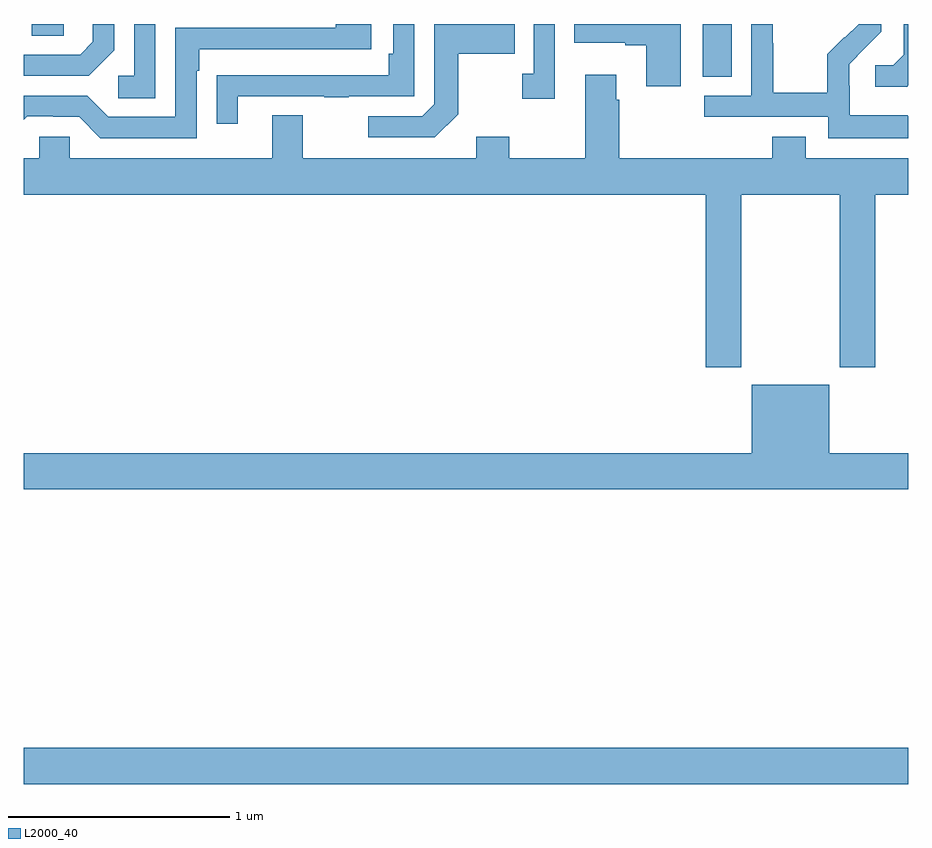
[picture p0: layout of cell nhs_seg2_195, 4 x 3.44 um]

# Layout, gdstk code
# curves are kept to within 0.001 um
import gdstk
lib = gdstk.Library(unit=1e-6, precision=1e-09)
def R(c, l, rs):  # rectangles x0, y0, x1, y1
    for r in rs: c.add(gdstk.rectangle(r[:2], r[2:], *l))
def P(c, l, *ps):  # polygons
    for p in ps: c.add(gdstk.Polygon(p, *l))
L2000_40 = (2000, 40)

nhs_seg2_195 = lib.new_cell('nhs_seg2_195')
R(nhs_seg2_195, L2000_40, [(121,586.364,125,586.528), (124.07,589.561,124.201,589.8), (121.037,589.747,121.182,589.8)])
P(nhs_seg2_195, L2000_40, [(121.782,589.589),(121.795,589.589),(121.795,589.686),(122.572,589.686),(122.572,589.8),(122.411,589.8),(122.411,589.782),(121.686,589.782),(121.686,589.38),(121.383,589.38),(121.287,589.476),(121,589.476),(121,589.366),(121.017,589.383),(121.133,589.383),(121.133,589.38),(121.251,589.38),(121.347,589.284),(121.782,589.284)],
  [(123.402,589.8),(123.306,589.8),(123.306,589.574),(123.255,589.574),(123.255,589.461),(123.402,589.461)],
  [(125,589.383),(124.997,589.383),(124.997,589.387),(124.734,589.387),(124.734,589.521),(124.732,589.521),(124.732,589.618),(124.878,589.766),(124.878,589.8),(124.776,589.8),(124.713,589.737),(124.71,589.74),(124.633,589.663),(124.633,589.489),(124.389,589.489),(124.389,589.712),(124.386,589.712),(124.386,589.8),(124.29,589.8),(124.29,589.476),(124.077,589.476),(124.077,589.38),(124.638,589.38),(124.638,589.283),(125,589.283)],
  [(121.969,589.473),(122.359,589.473),(122.359,589.468),(122.471,589.468),(122.471,589.473),(122.766,589.473),(122.766,589.8),(122.67,589.8),(122.67,589.666),(122.65,589.666),(122.65,589.569),(121.975,589.569),(121.975,589.568),(121.873,589.568),(121.873,589.35),(121.969,589.35)],
  [(121.596,589.8),(121.5,589.8),(121.5,589.566),(121.428,589.566),(121.428,589.465),(121.596,589.465)],
  [(125,589.523),(125,589.8),(124.979,589.8),(124.979,589.661),(124.932,589.614),(124.851,589.614),(124.851,589.517),(124.994,589.517)],
  [(122.965,589.393),(122.965,589.666),(123.221,589.666),(123.221,589.8),(122.856,589.8),(122.856,589.437),(122.802,589.383),(122.559,589.383),(122.559,589.287),(122.859,589.287)],
  [(121.41,589.682),(121.41,589.8),(121.313,589.8),(121.313,589.719),(121.256,589.662),(121,589.662),(121,589.566),(121.294,589.566)],
  [(123.97,589.8),(123.489,589.8),(123.489,589.715),(123.719,589.715),(123.719,589.703),(123.815,589.703),(123.815,589.518),(123.97,589.518)],
  [(124.245,589.028),(124.69,589.028),(124.69,588.249),(124.85,588.249),(124.85,589.028),(125,589.028),(125,589.192),(124.537,589.192),(124.537,589.291),(124.385,589.291),(124.385,589.192),(123.692,589.192),(123.692,589.457),(123.679,589.457),(123.679,589.57),(123.539,589.57),(123.539,589.192),(123.195,589.192),(123.195,589.291),(123.047,589.291),(123.047,589.192),(122.263,589.192),(122.263,589.387),(122.123,589.387),(122.123,589.192),(121.209,589.192),(121.209,589.29),(121.071,589.29),(121.071,589.192),(121,589.192),(121,589.028),(124.085,589.028),(124.085,588.249),(124.245,588.249)],
  [(125,587.86),(124.642,587.86),(124.642,588.169),(124.292,588.169),(124.292,587.86),(121,587.86),(121,587.696),(125,587.696)])

lib.write_gds('nhs_seg2_195.gds')
